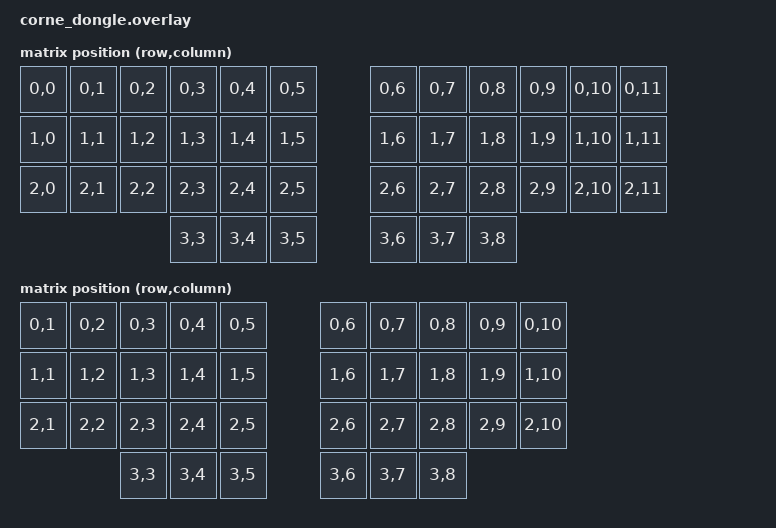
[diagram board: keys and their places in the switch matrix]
/*
 * Copyright (c) 2020 Pete Johanson
 *
 * SPDX-License-Identifier: MIT
 */

&i2c0 {
    status = "okay";

    oled: ssd1306@3c {
        compatible = "solomon,ssd1306fb";
        reg = <0x3c>;
        width = <128>;
        height = <32>;
        segment-offset = <0>;
        page-offset = <0>;
        display-offset = <0>;
        multiplex-ratio = <31>;
        segment-remap;
        com-invdir;
        com-sequential;
        prechargep = <0xf1>;
    };
};

/ {
    chosen {
        zephyr,display = &oled;
    };
};

#include <dt-bindings/zmk/matrix_transform.h>

#include <layouts/foostan/corne/5column.dtsi>
#include <layouts/foostan/corne/6column.dtsi>

&foostan_corne_6col_layout {
    transform = <&default_transform>;
};

&foostan_corne_5col_layout {
    transform = <&five_column_transform>;
};

/ {

    aliases {
        led0 = &led_red;
        led1 = &led_green;
        led2 = &led_blue;
        status-led = &led_blue;
    };

    leds {
        compatible = "gpio-leds";

        led_red: led_red {
            gpios = <&gpio0 26 GPIO_ACTIVE_LOW>;
            label = "XIAO RED";
        };

        led_green: led_green {
            gpios = <&gpio0 30 GPIO_ACTIVE_LOW>;
            label = "XIAO GREEN";
        };

        led_blue: led_blue {
            gpios = <&gpio0 6 GPIO_ACTIVE_LOW>;
            label = "XIAO BLUE";
        };
    };
    chosen {
        zmk,kscan = &mock_kscan;
        zmk,physical-layout = &foostan_corne_6col_layout;
    };

    default_transform: keymap_transform_0 {
        compatible = "zmk,matrix-transform";
        columns = <12>;
        rows = <4>;
        map = <
RC(0,0) RC(0,1) RC(0,2) RC(0,3) RC(0,4) RC(0,5)  RC(0,6) RC(0,7) RC(0,8) RC(0,9) RC(0,10) RC(0,11)
RC(1,0) RC(1,1) RC(1,2) RC(1,3) RC(1,4) RC(1,5)  RC(1,6) RC(1,7) RC(1,8) RC(1,9) RC(1,10) RC(1,11)
RC(2,0) RC(2,1) RC(2,2) RC(2,3) RC(2,4) RC(2,5)  RC(2,6) RC(2,7) RC(2,8) RC(2,9) RC(2,10) RC(2,11)
                        RC(3,3) RC(3,4) RC(3,5)  RC(3,6) RC(3,7) RC(3,8)
        >;
    };

    five_column_transform: keymap_transform_1 {
        compatible = "zmk,matrix-transform";
        columns = <10>;
        rows = <4>;
        map = <
RC(0,1) RC(0,2) RC(0,3) RC(0,4) RC(0,5)  RC(0,6) RC(0,7) RC(0,8) RC(0,9) RC(0,10)
RC(1,1) RC(1,2) RC(1,3) RC(1,4) RC(1,5)  RC(1,6) RC(1,7) RC(1,8) RC(1,9) RC(1,10)
RC(2,1) RC(2,2) RC(2,3) RC(2,4) RC(2,5)  RC(2,6) RC(2,7) RC(2,8) RC(2,9) RC(2,10)
                        RC(3,3) RC(3,4) RC(3,5)  RC(3,6) RC(3,7) RC(3,8)
        >;
    };

    mock_kscan: kscan_0 {
        compatible = "zmk,kscan-mock";
        columns = <0>;
        rows = <0>;
        events = <0>;
    };
};
